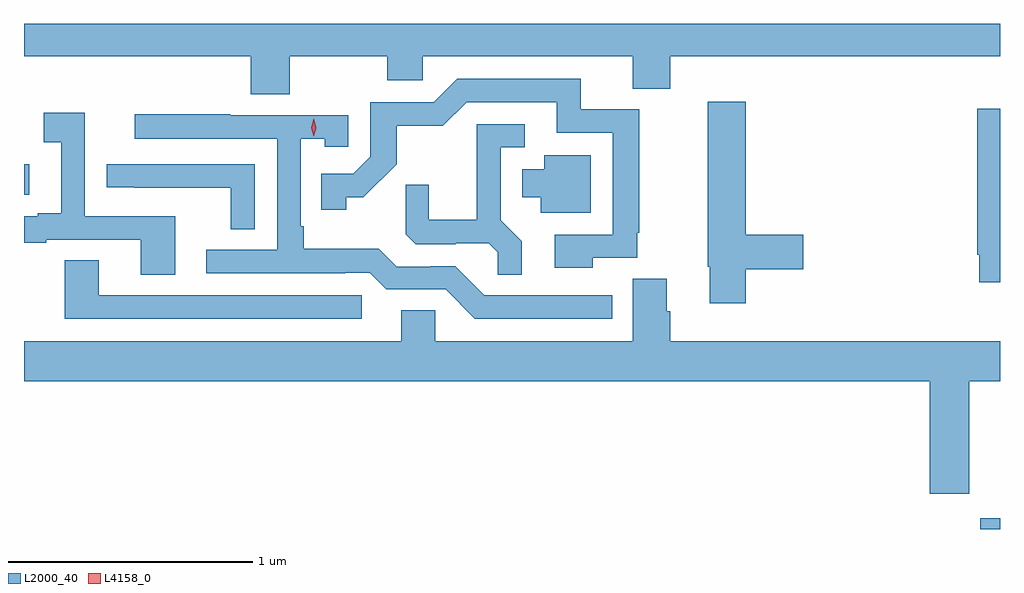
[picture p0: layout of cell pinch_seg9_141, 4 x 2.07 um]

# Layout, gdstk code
import gdstk
lib = gdstk.Library(unit=1e-6, precision=1e-09)
def R(c, l, rs):  # rectangles x0, y0, x1, y1
    for r in rs: c.add(gdstk.rectangle(r[:2], r[2:], *l))
def P(c, l, *ps):  # polygons
    for p in ps: c.add(gdstk.Polygon(p, *l))
L2000_40 = (2000, 40)
L4158_0 = (4158, 0)

pinch_seg9_141 = lib.new_cell('pinch_seg9_141')
R(pinch_seg9_141, L2000_40, [(679.502,1246.43,679.582,1246.474), (675.582,1247.801,675.604,1247.925)])
P(pinch_seg9_141, L2000_40, [(676.671,1248.368),(677.071,1248.368),(677.071,1248.27),(677.217,1248.27),(677.217,1248.368),(678.077,1248.368),(678.077,1248.235),(678.23,1248.235),(678.23,1248.368),(679.582,1248.368),(679.582,1248.5),(675.582,1248.5),(675.582,1248.368),(676.511,1248.368),(676.511,1248.211),(676.671,1248.211)],
  [(677.913,1247.541),(678.095,1247.541),(678.095,1247.644),(678.103,1247.644),(678.103,1248.15),(677.864,1248.15),(677.864,1248.276),(677.358,1248.276),(677.262,1248.18),(677.001,1248.18),(677.001,1247.955),(676.932,1247.886),(676.801,1247.886),(676.801,1247.739),(676.902,1247.739),(676.902,1247.789),(676.972,1247.789),(677.11,1247.926),(677.11,1248.082),(677.299,1248.082),(677.397,1248.18),(677.765,1248.18),(677.765,1248.054),(677.994,1248.054),(677.994,1247.637),(677.757,1247.637),(677.757,1247.501),(677.913,1247.501)],
  [(678.539,1247.494),(678.775,1247.494),(678.775,1247.636),(678.539,1247.636),(678.539,1248.181),(678.385,1248.181),(678.385,1247.505),(678.392,1247.505),(678.392,1247.355),(678.539,1247.355)],
  [(679.582,1248.152),(679.489,1248.152),(679.489,1247.554),(679.497,1247.554),(679.497,1247.442),(679.582,1247.442)],
  [(676.201,1247.712),(675.831,1247.712),(675.831,1248.136),(675.663,1248.136),(675.663,1248.016),(675.734,1248.016),(675.734,1247.725),(675.638,1247.725),(675.638,1247.712),(675.582,1247.712),(675.582,1247.604),(675.673,1247.604),(675.673,1247.616),(676.061,1247.616),(676.061,1247.473),(676.201,1247.473)],
  [(677.992,1247.388),(677.469,1247.388),(677.349,1247.508),(677.248,1247.508),(677.248,1247.505),(677.109,1247.505),(677.036,1247.578),(676.729,1247.578),(676.729,1247.671),(676.716,1247.671),(676.716,1248.029),(676.815,1248.029),(676.815,1247.997),(676.911,1247.997),(676.911,1248.126),(676.427,1248.126),(676.427,1248.129),(676.035,1248.129),(676.035,1248.03),(676.62,1248.03),(676.62,1247.574),(676.329,1247.574),(676.329,1247.478),(676.898,1247.478),(676.898,1247.481),(676.998,1247.481),(677.067,1247.412),(677.31,1247.412),(677.43,1247.292),(677.992,1247.292)],
  [(677.621,1247.609),(677.535,1247.695),(677.535,1247.994),(677.635,1247.994),(677.635,1248.09),(677.438,1248.09),(677.438,1247.698),(677.24,1247.698),(677.24,1247.841),(677.146,1247.841),(677.146,1247.639),(677.187,1247.598),(677.352,1247.598),(677.352,1247.601),(677.486,1247.601),(677.523,1247.564),(677.523,1247.473),(677.621,1247.473)],
  [(677.905,1247.962),(677.714,1247.962),(677.714,1247.905),(677.624,1247.905),(677.624,1247.789),(677.699,1247.789),(677.699,1247.726),(677.905,1247.726)],
  [(676.527,1247.925),(675.921,1247.925),(675.921,1247.83),(676.033,1247.83),(676.033,1247.829),(676.429,1247.829),(676.429,1247.659),(676.527,1247.659)],
  [(676.966,1247.388),(675.889,1247.388),(675.889,1247.531),(675.749,1247.531),(675.749,1247.292),(676.966,1247.292)],
  [(679.455,1247.036),(679.582,1247.036),(679.582,1247.2),(678.23,1247.2),(678.23,1247.322),(678.217,1247.322),(678.217,1247.456),(678.077,1247.456),(678.077,1247.2),(677.268,1247.2),(677.268,1247.327),(677.129,1247.327),(677.129,1247.2),(675.582,1247.2),(675.582,1247.036),(679.295,1247.036),(679.295,1246.575),(679.455,1246.575)])
P(pinch_seg9_141, L4158_0, [(676.769,1248.039),(676.76,1248.075),(676.769,1248.111),(676.77,1248.111),(676.77,1248.111),(676.78,1248.075),(676.77,1248.039),(676.77,1248.039)])

lib.write_gds('pinch_seg9_141.gds')
